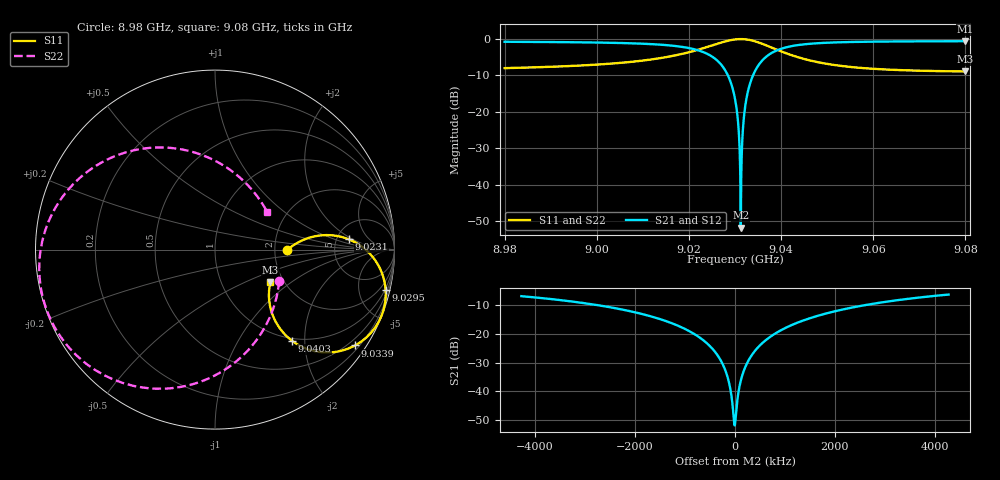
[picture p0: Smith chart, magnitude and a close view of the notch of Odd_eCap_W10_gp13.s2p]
! Sonnet Data File
! From: emgraph Version : 16.52
! From Project: Resonator2_extremeCap2
! Data is De-embedded
! Data File Written: 10/10/2017 08:27:13
!< HDATE 10/10/2017 01:06:54
!< MDATE 10/10/2017 01:06:54
!< PARAMS
!< Pwid1 = 2000.0
!< Pwid2 = 2000.0
!< Air_gap = 6.0
!< Width = 10.0
!< Gap = 13.0
!< END PARAMS
# GHZ S MA R 35.98000
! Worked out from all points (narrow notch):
!   1595 points, 8.98 GHz to 9.08 GHz, reference 35.98 ohm
!   highest |S21| = -0.60 dB at 9.08 GHz (marker M1); lowest = -51.8 dB at 9.0313 GHz (marker M2)
!   notch at M2: 49.5 dB deep, 719 kHz wide at half that depth
!   lowest |S11| = -8.9 dB at 9.08 GHz (marker M3), VSWR 2.12, Z = 61.3 - j25.7 ohm
!   |S11| at or under -10 dB: nowhere
!   |S22| runs from -8.9 to 0.0 dB; largest |S21 - S12| = 0
!   S11 on the Smith chart (normalised r, x): 8.98 GHz: 2.32, -0.03; 9.0231 GHz: 6.50, +1.68; 9.0295 GHz: 0.83, -8.42; 9.0339 GHz: 0.32, -3.21; 9.0403 GHz: 0.95, -1.74; 9.08 GHz: 1.70, -0.71
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8.98  0.3985 -0.7  0.9171 -103.3  0.9171 -103.3  0.3984 -26.0
!< P1 F=8.98 Eeff=(5.37116343 -2.3769e-5) Z0=(35.9716001 8.05996e-5) R=0.0 C=0.0
!< P2 F=8.98 Eeff=(5.37116343 -2.3769e-5) Z0=(35.9716001 8.05996e-5) R=0.0 C=0.0
8.9967  0.4335 2.9  0.9011 -107.4  0.9011 -107.4  0.4333 -37.6
9.0134  0.5421 7.4  0.84 -117.7  0.84 -117.7  0.5416 -62.9
9.0231  0.7482 4.4  0.6623 -136.4  0.6623 -136.4  0.7471 -97.3
9.027186  0.9013 -4.4  0.4302 -153.9  0.4302 -153.9  0.8997 -123.9
9.029535  0.9773 -13.4  0.204 -168.2  0.204 -168.2  0.9755 -144.4
9.03  0.9868 -15.5  0.1511 -171.3  0.1511 -171.3  0.985 -148.9
9.030498  0.994 -17.9  0.09222 -174.3  0.09222 -174.3  0.9921 -153.8
9.0309  0.9973 -19.8  0.04348 -175.5  0.04348 -175.5  0.9954 -157.9
9.031099  0.998 -20.8  0.01918 -172.7  0.01918 -172.7  0.9961 -159.9
9.031181  0.9982 -21.2  0.009255 -164.8  0.009255 -164.8  0.9963 -160.7
9.031253  0.9982 -21.6  0.002576 -90.6  0.002576 -90.6  0.9963 -161.5
9.031341  0.9981 -22.0  0.01121 -15.5  0.01121 -15.5  0.9962 -162.4
9.03143  0.998 -22.4  0.02216 -9.6  0.02216 -9.6  0.996 -163.3
9.031805  0.9958 -24.3  0.06856 -7.9  0.06856 -7.9  0.9939 -167.1
9.032601  0.9843 -28.2  0.1663 -12.6  0.1663 -12.6  0.9823 -175.3
9.033935  0.9456 -34.4  0.3202 -22.0  0.3202 -22.0  0.9437 171.3
9.037  0.8081 -44.8  0.5869 -40.5  0.5869 -40.5  0.8065 144.1
9.040297  0.6662 -49.8  0.7447 -54.4  0.7447 -54.4  0.665 121.3
9.0467  0.5009 -49.2  0.8651 -69.1  0.8651 -69.1  0.5001 91.1
9.0634  0.3799 -37.6  0.9249 -82.7  0.9249 -82.7  0.3797 52.2
9.08  0.3586 -30.6  0.9335 -87.5  0.9335 -87.5  0.3584 35.6
